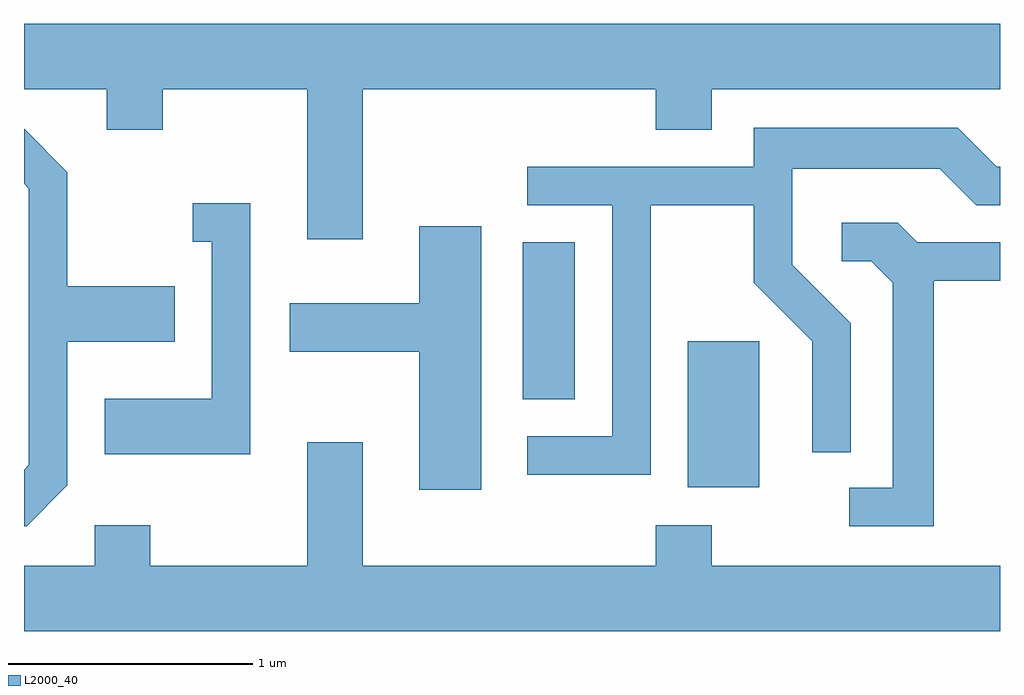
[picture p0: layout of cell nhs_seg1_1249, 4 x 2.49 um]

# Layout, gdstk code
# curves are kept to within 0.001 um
import gdstk
lib = gdstk.Library(unit=1e-6, precision=1e-09)
def R(c, l, rs):  # rectangles x0, y0, x1, y1
    for r in rs: c.add(gdstk.rectangle(r[:2], r[2:], *l))
def P(c, l, *ps):  # polygons
    for p in ps: c.add(gdstk.Polygon(p, *l))
L2000_40 = (2000, 40)

nhs_seg1_1249 = lib.new_cell('nhs_seg1_1249')
R(nhs_seg1_1249, L2000_40, [(226.331,913.486,226.624,914.084), (225.656,913.846,225.869,914.489)])
P(nhs_seg1_1249, L2000_40, [(224.999,915.116),(226.201,915.116),(226.201,914.951),(226.429,914.951),(226.429,915.116),(227.611,915.116),(227.611,915.384),(223.611,915.384),(223.611,915.116),(223.951,915.116),(223.951,914.951),(224.179,914.951),(224.179,915.116),(224.771,915.116),(224.771,914.501),(224.999,914.501)],
  [(226.179,914.641),(226.601,914.641),(226.601,914.324),(226.841,914.084),(226.841,913.628),(226.999,913.628),(226.999,914.157),(226.759,914.397),(226.759,914.791),(227.364,914.791),(227.514,914.641),(227.611,914.641),(227.611,914.799),(227.597,914.799),(227.437,914.959),(226.601,914.959),(226.601,914.799),(225.673,914.799),(225.673,914.641),(226.021,914.641),(226.021,913.694),(225.673,913.694),(225.673,913.536),(226.179,913.536)],
  [(223.789,913.494),(223.789,914.081),(224.229,914.081),(224.229,914.309),(223.789,914.309),(223.789,914.777),(223.611,914.954),(223.611,914.729),(223.631,914.709),(223.631,913.577),(223.611,913.557),(223.611,913.326),(223.622,913.326)],
  [(224.539,914.649),(224.303,914.649),(224.303,914.491),(224.381,914.491),(224.381,913.849),(223.941,913.849),(223.941,913.621),(224.539,913.621)],
  [(227.339,914.331),(227.611,914.331),(227.611,914.489),(227.272,914.489),(227.192,914.569),(226.963,914.569),(226.963,914.411),(227.084,914.411),(227.171,914.324),(227.171,913.484),(226.993,913.484),(226.993,913.326),(227.339,913.326)],
  [(225.484,914.554),(225.231,914.554),(225.231,914.239),(224.701,914.239),(224.701,914.041),(225.231,914.041),(225.231,913.476),(225.484,913.476)],
  [(227.611,913.164),(226.429,913.164),(226.429,913.329),(226.201,913.329),(226.201,913.164),(224.999,913.164),(224.999,913.669),(224.771,913.669),(224.771,913.164),(224.129,913.164),(224.129,913.329),(223.901,913.329),(223.901,913.164),(223.611,913.164),(223.611,912.896),(227.611,912.896)])

lib.write_gds('nhs_seg1_1249.gds')
